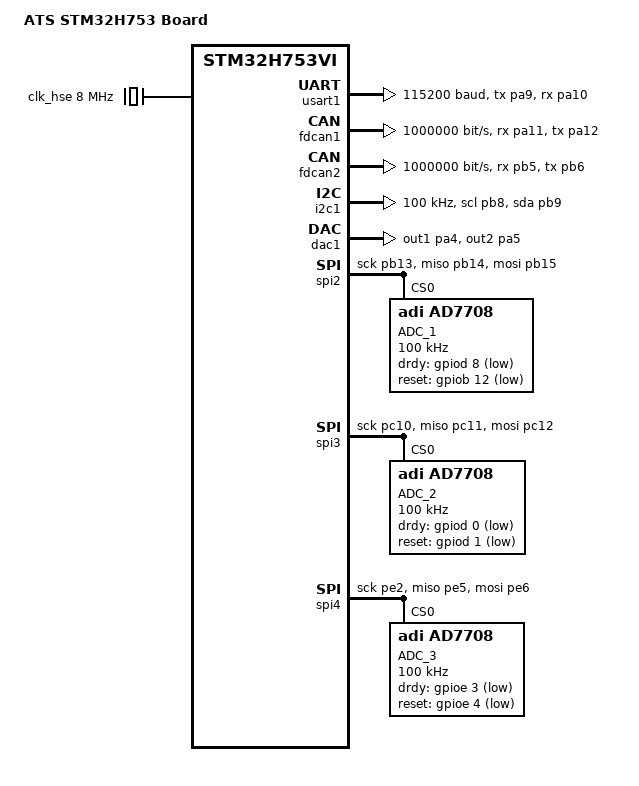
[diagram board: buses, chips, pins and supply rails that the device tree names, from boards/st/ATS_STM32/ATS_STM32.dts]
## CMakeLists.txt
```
# SPDX-License-Identifier: Apache-2.0
cmake_minimum_required(VERSION 3.20.0)

# Generates compile_commands.json for clangd LSP support.
set(CMAKE_EXPORT_COMPILE_COMMANDS ON)

find_package(Zephyr REQUIRED HINTS $ENV{ZEPHYR_BASE})
project(vcu)

# include/ is the single root for all headers.
# Use prefixed includes for subfolders: #include "threads/APPS.h", #include "can_decoders/dti_decoders.h"
target_include_directories(app PRIVATE
    ${CMAKE_CURRENT_SOURCE_DIR}/include
)

# Gather all C and C++ source files under src/ recursively (picks up subfolders automatically).
file(GLOB_RECURSE APP_SOURCES
    ${CMAKE_CURRENT_SOURCE_DIR}/src/*.c
    ${CMAKE_CURRENT_SOURCE_DIR}/src/*.cpp
)

target_sources(app PRIVATE ${APP_SOURCES})

target_compile_options(app PRIVATE
    -Wall
    -Wextra
    -Wno-unused-parameter
)
```

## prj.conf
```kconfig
CONFIG_CAN=y
CONFIG_GPIO=y
CONFIG_LOG=y
CONFIG_LOG_DEFAULT_LEVEL=3
CONFIG_LOG_BACKEND_FORMAT_TIMESTAMP=y
CONFIG_LOG_BACKEND_SHOW_COLOR=y

CONFIG_CPP=y
CONFIG_CPP_EXCEPTIONS=y
CONFIG_GLIBCXX_LIBCPP=y
CONFIG_CAN_STATS=y

# Keep your custom compiler flag:
CONFIG_COMPILER_OPT="-ftrack-macro-expansion=0"
CONFIG_THREAD_MONITOR=y
CONFIG_THREAD_STACK_INFO=y
CONFIG_HEAP_MEM_POOL_SIZE=16384
CONFIG_SYSTEM_WORKQUEUE_STACK_SIZE=2048
CONFIG_SYS_HEAP_RUNTIME_STATS=y
CONFIG_PRINTK=y  

CONFIG_THREAD_RUNTIME_STATS=y
CONFIG_SCHED_THREAD_USAGE=y
CONFIG_CPU_LOAD=y
```

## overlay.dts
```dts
/ {
    /* enable the second and third CAN controllers */
    &can2 { status = "okay"; };
    &can3 { status = "okay"; };
};
```

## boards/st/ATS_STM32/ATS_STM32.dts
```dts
/*
 * Created by Luke Tighe 4/9/26
 * SPDX-License-Identifier: Apache-2.0
 */

/dts-v1/;
/* Base STM32H753 SoC description. */
#include <st/h7/stm32h753Xi.dtsi>
/* STM32H753 pinmux labels used by pinctrl-0 entries below. */
#include <st/h7/stm32h753vitx-pinctrl.dtsi>
/* STM32 pinmux helper macros used for custom SPI4 pin definitions below. */
#include <zephyr/dt-bindings/pinctrl/stm32-pinctrl.h>

/ {
	/* Human-readable board identification shown in generated metadata. */
	model = "ATS STM32H753 Board";
	/* Board-specific compatible, followed by the STM32H753VI SoC family. */
	compatible = "vnd,ats-stm32", "st,stm32h753vi";

	/* Default system resources Zephyr should bind to at boot. */
	chosen {
		/* UART used for printk/logging output. */
		zephyr,console = &usart1;
		/* UART used by the Zephyr shell, if enabled. */
		zephyr,shell-uart = &usart1;
		/* Main SRAM region used for runtime allocations and data. */
		zephyr,sram = &sram0;
		/* On-chip flash used for the application image. */
		zephyr,flash = &flash0;
		/* Default CAN controller for application code and samples. */
		zephyr,canbus = &fdcan1;
	};

	/*
	 * Convenience aliases for the three external SPI ADCs and the hall-effect
	 * interrupt line.
	 * Assumption: no separate CS pin was provided, so each ADC is the only
	 * device on its SPI bus and chip select is handled externally in hardware.
	 */
	aliases {
		adc-spi1 = &ADC_1;
		adc-spi2 = &ADC_2;
		adc-spi3 = &ADC_3;
		adc1-disable = &adc1_disable;
		adc2-disable = &adc2_disable;
		adc3-disable = &adc3_disable;
		i2c-irq = &HallEffect_1;
	};

	/* Named board-level GPIO resources that application code can look up. */
	board_signals {
		/*
		 * ADC disable lines are active high.
		 * External pull-ups on the board keep the ADCs disabled until firmware
		 * actively drives these lines low.
		 */
		adc1_disable: adc1-disable {
			gpios = <&gpiod 2 GPIO_ACTIVE_HIGH>;
			label = "ADC1 Disable";
		};

		adc2_disable: adc2-disable {
			gpios = <&gpiod 4 GPIO_ACTIVE_HIGH>;
			label = "ADC2 Disable";
		};

		adc3_disable: adc3-disable {
			gpios = <&gpioc 13 GPIO_ACTIVE_HIGH>;
			label = "ADC3 Disable";
		};

		/* Hall-effect sensor interrupt line on PE1. */
		HallEffect_1: hall-effect-1 {
			gpios = <&gpioe 1 GPIO_ACTIVE_LOW>;
			label = "Hall Effect 1";
		};
	};
};

/* External high-speed clock source feeding the PLLs. */
&clk_hse {
	clock-frequency = <DT_FREQ_M(8)>;
	status = "okay";
};

/* Main PLL generates the 480 MHz system clock tree. */
&pll {
	div-m = <2>;
	mul-n = <240>;
	div-p = <2>;
	div-q = <2>;
	div-r = <2>;
	clocks = <&clk_hse>;
	status = "okay";
};

/* Secondary PLL is used here to generate the FDCAN kernel clock. */
&pll2 {
	div-m = <4>;
	mul-n = <120>;
	div-p = <2>;
	div-q = <3>;
	div-r = <2>;
	clocks = <&clk_hse>;
	status = "okay";
};

/* RCC selects the system clock source and bus prescalers. */
&rcc {
	clocks = <&pll>;
	clock-frequency = <DT_FREQ_M(480)>;
	d1cpre = <1>;
	hpre = <2>;
	d1ppre = <2>;
	d2ppre1 = <2>;
	d2ppre2 = <2>;
	d3ppre = <2>;
};

/* STM32H7 power configuration. "ldo" matches a typical direct LDO setup. */
&pwr {
	power-supply = "ldo";
};

/* Enable GPIO controller blocks so pins can be configured from application code. */
&gpioa { status = "okay"; };
&gpiob { status = "okay"; };
&gpioc { status = "okay"; };
&gpiod { status = "okay"; };
&gpioe { status = "okay"; };

/* Primary debug/logging UART routed to PA9/PA10. */
&usart1 {
	pinctrl-0 = <&usart1_tx_pa9 &usart1_rx_pa10>;
	pinctrl-names = "default";
	current-speed = <115200>;
	status = "okay";
};

/* CAN1 */
&fdcan1 {
	clocks = <&rcc STM32_CLOCK(APB1_2, 8)>,
		 <&rcc STM32_SRC_PLL2_Q FDCAN_SEL(2)>;
	pinctrl-0 = <&fdcan1_rx_pa11 &fdcan1_tx_pa12>;
	pinctrl-names = "default";
	/* 1 Mbit/s nominal bitrate with an 87.5% sample point. */
	bitrate = <1000000>;
	sample-point = <875>;
	status = "okay";
};

/* CAN2 */
&fdcan2 {
	clocks = <&rcc STM32_CLOCK(APB1_2, 9)>,
		 <&rcc STM32_SRC_PLL2_Q FDCAN_SEL(2)>;
	pinctrl-0 = <&fdcan2_rx_pb5 &fdcan2_tx_pb6>;
	pinctrl-names = "default";
	bitrate = <1000000>;
	sample-point = <875>;
	status = "okay";
};

/* I2C1 routed to PB8/PB9 for external peripherals. */
&i2c1 {
	pinctrl-0 = <&i2c1_scl_pb8 &i2c1_sda_pb9>;
	pinctrl-names = "default";
	status = "okay";
	clock-frequency = <I2C_BITRATE_STANDARD>;
};

/*
 * DAC1 exposes two analog outputs on PA4 and PA5.
 * Note: these pins are still referenced as ADC inputs in the current C++ code.
 */
&dac1 {
	pinctrl-0 = <&dac1_out1_pa4 &dac1_out2_pa5>;
	pinctrl-names = "default";
	status = "okay";
};

/* ADC1 SPI bus: PB15 MOSI, PB14 MISO, PB13 SCK. */
&spi2 {
	pinctrl-0 = <&spi2_sck_pb13 &spi2_miso_pb14 &spi2_mosi_pb15>;
	pinctrl-names = "default";
	status = "okay";

	/* AD7708 #1 control signals: PD8 DRDY, PB12 reset. */
	ADC_1: adc@0 {
		compatible = "adi,ad7708";
		reg = <0>;
		spi-max-frequency = <100000>;
		drdy-gpios = <&gpiod 8 GPIO_ACTIVE_LOW>;
		reset-gpios = <&gpiob 12 GPIO_ACTIVE_LOW>;
		status = "okay";
	};
};

/* ADC2 SPI bus: PC12 MOSI, PC11 MISO, PC10 SCK. */
&spi3 {
	pinctrl-0 = <&spi3_sck_pc10 &spi3_miso_pc11 &spi3_mosi_pc12>;
	pinctrl-names = "default";
	status = "okay";

	/* AD7708 #2 control signals: PD0 DRDY, PD1 reset. */
	ADC_2: adc@0 {
		compatible = "adi,ad7708";
		reg = <0>;
		spi-max-frequency = <100000>;
		drdy-gpios = <&gpiod 0 GPIO_ACTIVE_LOW>;
		reset-gpios = <&gpiod 1 GPIO_ACTIVE_LOW>;
		status = "okay";
	};
};

/* ADC3 SPI bus: PE6 MOSI, PE5 MISO, PE2 SCK. */
&spi4 {
	pinctrl-0 = <&spi4_sck_pe2 &spi4_miso_pe5 &spi4_mosi_pe6>;
	pinctrl-names = "default";
	status = "okay";

	/* AD7708 #3 control signals: PE3 DRDY, PE4 reset. */
	ADC_3: adc@0 {
		compatible = "adi,ad7708";
		reg = <0>;
		spi-max-frequency = <100000>;
		drdy-gpios = <&gpioe 3 GPIO_ACTIVE_LOW>;
		reset-gpios = <&gpioe 4 GPIO_ACTIVE_LOW>;
		status = "okay";
	};
};

/* Custom pinctrl entries for SPI4 on GPIOE, since these pins are board-specific. */
&pinctrl {
	spi4_sck_pe2: spi4_sck_pe2 {
		pinmux = <STM32_PINMUX('E', 2, AF5)>;
	};

	spi4_miso_pe5: spi4_miso_pe5 {
		pinmux = <STM32_PINMUX('E', 5, AF5)>;
	};

	spi4_mosi_pe6: spi4_mosi_pe6 {
		pinmux = <STM32_PINMUX('E', 6, AF5)>;
	};
};
```

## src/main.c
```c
/*
 * Copyright (c) 2016 Intel Corporation
 *
 * SPDX-License-Identifier: Apache-2.0
 */

#include "CanInitializer.h"
#include <stdio.h>
#include <sys/_intsup.h>
#include <zephyr/drivers/gpio.h>
#include <zephyr/kernel.h>

/* 1000 msec = 1 sec */
#define SLEEP_TIME_MS 1000

#define DEBUGGING 0

// Placeholder values while we do not have real numbers (most likely same as 24 car)
const int ocThreshold = 1; // Open Circuit threshold
const int scThreshold = 2;  // Short Circuit threshold

// Pin Configuration NOT REAL VALUES
const int brake_switch_pin = 14;
const int brake_out_pin = 2;
const int error_out_pin = 9;
const int rtds_horn_pin = 21;
const int custom_pedal_pin = A14;


// Class for the pedals contains how to read pedal positions and check Open Circuit and Short Circuit faults
struct pedalSensor {
    const int inputPin;
    const int zeroPos;
    const int fullPos;
    const int onLedPin;
    const int ocLedPin;
    const int scLedPin;

    public:
        float pedalPercentage() const {
            float percent = ((float) analogRead(inputPin) - zeroPos) / (fullPos - zeroPos);
            if (percent < 0.0f) {
                percent = 0.0f;
            } else if (percent > 1.0f) {
                percent = 1.0f;
            }
            return percent;
        }

        // Checks for a Short Circuit by reading the value of the sensor and comparing it to the threshold defined above
        bool checkOpenCircuit() const {
            bool isOpenCircuit = analogRead(inputPin) < ocThreshold;
            digitalWrite(ocLedPin, isOpenCircuit);
            #ifdef DEBUGGING
            printf("Pedal %d: Open Circuit %s\n", inputPin, isOpenCircuit ? "detected" : "not detected");
            #endif
            return isOpenCircuit;
        }

        // Checks for a Short Circuit by reading the value of the sensor and comparing it to the threshold defined above
        bool checkShortCircuit() const {
            bool isShortCircuit = analogRead(inputPin) > scThreshold;
            digitalWrite(scLedPin, isShortCircuit);
            #ifdef DEBUGGING
            printf("Pedal %d: Short Circuit %s\n", inputPin, isShortCircuit ? "detected" : "not detected");
            #endif
            return isShortCircuit;
        }
}

// Pedal sensor1 WRITE DOWN RIGHT OR LEFT WHEN WE FIGURE IT OUT also update values
const pedalSensor p1 = {
    0,
    0,
    0,
    0,
    0,
    0
};

// Pedal sensor2 WRITE DOWN RIGHT OR LEFT WHEN WE FIGURE IT OUT also update values
const pedalSensor p2 = {
    0,
    0,
    0,
    0,
    0,
    0
};

const pedals pedalSensor[] = [p1, p2];

/* The devicetree node identifier for the "led0" alias. */

/*
 * A build error on this line means your board is unsupported.
 * See the sample documentation for information on how to fix this.
 */

int main(void) {}
```

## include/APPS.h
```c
#pragma once

#include "hardware.h"
#include "periodic_task.h"
#include "vehicle_state.h"

class APPSTask : public PeriodicTask<APPSTask>
{
    friend class PeriodicTask<APPSTask>;

  public:
    void set_hardware(Hardware *hw)
    {
        hardware_ = hw;
    }

  private:
    Hardware *hardware_ = nullptr;
    int64_t agreement_fault_deadline_ = 0;
    bool brake_fault_latched_ = false;

    void on_init();
    void on_deadline_miss();
    void run();

    float readPedalPercent(uint16_t raw, uint16_t low, uint16_t range, PEDAL_SLOPE_DIRECTION slope);
    bool checkOpenCircuit(uint16_t raw, uint16_t low_threshold);
    bool checkShortCircuit(uint16_t raw, uint16_t high_threshold);
    bool checkPedalAgreement(float p1_pct, float p2_pct);
    bool checkBrakeOverlap(float avg_pct);
};

// Start the APPS task. Stack and task instance are owned inside APPS.cpp.
void start_apps_task(VehicleState *v, Hardware *hw, uint32_t period_ms = 100, int priority = 5);

APPSTask &get_apps_task();
```

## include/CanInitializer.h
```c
#include "ProjectIncludes.H"

#pragma once 
#ifdef __cplusplus 
extern "C" { 
#endif

/* can_init ENCAPSULATES ALL CAN INITIALIZATION AND STARTUP CONFIGURATION BEHAVIOR */
uint8_t can_init(); 

#ifdef __cplusplus
}
#endif
```

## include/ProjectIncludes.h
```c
#include <zephyr/types.h>
#include <zephyr/drivers/can.h>
#include <zephyr/kernel.h>
#include <zephyr/device.h>
#include <zephyr/devicetree.h>
#include <zephyr/logging\log.h>
```

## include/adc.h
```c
// zephyr_adc.h
#pragma once
#include <zephyr/drivers/spi.h>
#include <zephyr/drivers/gpio.h>
#include <zephyr/device.h>

struct AD7708Config {
    struct spi_dt_spec spi;
    struct gpio_dt_spec drdy;
    struct gpio_dt_spec reset;
};

class AD7708
{
  private:
    int reset();
    int write_reg(uint8_t reg, uint8_t value);
    int read_reg(uint8_t reg, uint8_t *value);
    int wait_data_ready();
    const AD7708Config *config_;

  public:
    explicit AD7708(const AD7708Config *config);
    int init();
    int read_raw(uint8_t channel, int32_t *sample);


};
```

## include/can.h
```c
#pragma once
#include "vehicle_state.h"
#include <zephyr/drivers/can.h>
#include <zephyr/kernel.h>

using frame_handler_t = void (*)(const struct can_frame *frame, volatile VehicleState *vehicle);

class CanBus
{
  private:
    const struct device *dev_;
    uint32_t bitrate_;
    uint32_t sample_point_;
    bool initialized_;
    bool started_;
    VehicleState *vehicle_;
    uint32_t frames_rec;
    uint32_t frames_sent;

    static void can1_rx_isr(const struct device *dev, struct can_frame *frame, void *self_ptr);
    static void can2_rx_isr(const struct device *dev, struct can_frame *frame, void *self_ptr);

    frame_handler_t bus_handlers[2048]{nullptr};

  public:
    CanBus(VehicleState *vehicle);

    int init(const struct device *dev, uint32_t bitrate = 1000000, uint32_t sample_point = 875);
    int start();
    int stop();

    int send(const struct can_frame *frame, k_timeout_t timeout, can_tx_callback_t callback = nullptr,
             void *user_data = nullptr);

    int add_rx_filter_msgq(struct k_msgq *msgq, const struct can_filter *filter);
    void remove_rx_filter(int filter_id);

    int get_state(enum can_state *state) const;
    int set_mode(can_mode_t mode);
    can_mode_t get_mode() const;

    bool is_initialized() const
    {
        return initialized_;
    }
    bool is_started() const
    {
        return started_;
    }

    const struct device *get_device() const
    {
        return dev_;
    }
};
```

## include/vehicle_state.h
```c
// vehicle_state.h
#pragma once
#include <zephyr/kernel.h>
#include <zephyr/drivers/can.h>

enum Corner : uint8_t
{
    FRONT_LEFT = 0,
    FRONT_RIGHT = 1,
    REAR_LEFT = 2,
    REAR_RIGHT = 3,
    NUM_CORNERS = 4
};

struct DTI_Inverter
{
    uint8_t node_id;

    // Packet 0x1F: General Data 6
    uint8_t control_mode;    // 1=Speed,2=Current,3=CurrBrake,4=Pos,7=None
    int16_t target_iq;       // [A_pk * 10]
    uint16_t motor_position; // [deg * 10]
    uint8_t is_motor_still;  // 1=still, 0=rotating

    // Packet 0x20: General Data 1
    int32_t erpm;          // [ERPM]
    int16_t duty_cycle;    // [% * 10]
    int16_t input_voltage; // [V]

    // Packet 0x21: General Data 2
    int16_t ac_current; // [A_pk * 10]
    int16_t dc_current; // [A_dc * 10]

    // Packet 0x22: General Data 3
    int16_t controller_temp; // [°C * 10]
    int16_t motor_temp;      // [°C * 10]
    uint8_t fault_code;      // 0x00=None ... 0x0A=AnalogErr

    // Packet 0x23: General Data 4
    int32_t id; // [A_pk * 100]
    int32_t iq; // [A_pk * 100]

    // Packet 0x24: General Data 5
    int8_t throttle_signal; // [%]
    int8_t brake_signal;    // [%]

    bool digital_in1;
    bool digital_in2;
    bool digital_in3;
    bool digital_in4;
    bool digital_out1;
    bool digital_out2;
    bool digital_out3;
    bool digital_out4;

    bool drive_enable;

    bool limit_cap_temp;
    bool limit_dc_current;
    bool limit_drive_enable;
    bool limit_igbt_accel_temp;
    bool limit_igbt_temp;
    bool limit_input_voltage;
    bool limit_motor_accel_temp;
    bool limit_motor_temp;
    bool limit_rpm_min;
    bool limit_rpm_max;
    bool limit_power;

    uint8_t can_map_version;

    // Packet 0x25: Configured and Available AC Currents
    int16_t max_ac_current;       // [A_pk * 10]
    int16_t avail_max_ac_current; // [A_pk * 10]
    int16_t min_ac_current;       // [A_pk * 10]
    int16_t avail_min_ac_current; // [A_pk * 10]

    // Packet 0x26: Configured and Available DC Currents
    int16_t max_dc_current;       // [A_dc * 10]
    int16_t avail_max_dc_current; // [A_dc * 10]
    int16_t min_dc_current;       // [A_dc * 10]
    int16_t avail_min_dc_current; // [A_dc * 10]

    uint64_t last_rx_time_ms;
};

struct Analog
{
    uint16_t channels[8];
};

enum APPS_ERRORS
{
    PEDAL_AGREEMENT = 0,
    SHORT_CIRCUIT_P1 = 1,
    SHORT_CIRCUIT_P2 = 2,
    OPEN_CIRCUIT_P1 = 3,
    OPEN_CIRCUIT_P2 = 4,
    BRAKE_OVERLAP = 5,
    NUM_ERRORS = 8,
};

enum PEDAL_SLOPE_DIRECTION
{
    POSITIVE,
    NEGATIVE
};

namespace APPS_CONSTEXPRS
{
static constexpr uint16_t calculateRange(uint16_t highThreshold, uint16_t lowThreshold)
{
    return (highThreshold > lowThreshold) ? (highThreshold - lowThreshold) : (lowThreshold - highThreshold);
}

static constexpr PEDAL_SLOPE_DIRECTION PEDAL_SLOPE_DIRECTION(uint16_t highThreshold, uint16_t lowThreshold)
{
    return (highThreshold > lowThreshold) ? POSITIVE : NEGATIVE;
}

} // namespace APPS_CONSTEXPRS

struct APPS_data
{
    bool errors[APPS_ERRORS::NUM_ERRORS];
    bool faulted;

    // calibration values, constexpr set at compile time
    static constexpr int pedal1_adc_channel_num = 0;
    static constexpr int pedal2_adc_channel_num = 1;
    static constexpr uint16_t pedal1_low_threshold = 10000;
    static constexpr uint16_t pedal2_low_threshold = 10000;
    static constexpr uint16_t pedal1_high_threshold = 20000;
    static constexpr uint16_t pedal2_high_threshold = 20000;

    static constexpr int brake_main_adc_channel_num = 0;

    // other calibration values
    static constexpr float agreement_threshold = 0.10f; // 10% disagreement
    static constexpr int agreement_timeout_ms = 100;
    static constexpr float brake_on_threshold = 0.25f;  // throttle % to latch brake fault
    static constexpr float brake_off_threshold = 0.05f; // throttle % to clear brake fault

    // constexpr values that are calculated at compiletime
    static constexpr uint16_t pedal1_range_width =
        APPS_CONSTEXPRS::calculateRange(pedal1_high_threshold, pedal1_low_threshold);
    static constexpr uint16_t pedal2_range_width =
        APPS_CONSTEXPRS::calculateRange(pedal2_high_threshold, pedal2_low_threshold);
    static constexpr PEDAL_SLOPE_DIRECTION pedal1_slope_direction =
        APPS_CONSTEXPRS::PEDAL_SLOPE_DIRECTION(pedal1_high_threshold, pedal1_low_threshold);
    static constexpr PEDAL_SLOPE_DIRECTION pedal2_slope_direction =
        APPS_CONSTEXPRS::PEDAL_SLOPE_DIRECTION(pedal2_high_threshold, pedal2_low_threshold);

    // IN PERCENTAGE, translation of input voltages to output command AFTER APPS processing
    float commandedTorquePercentage;
    float pedal1_percent;
    float pedal2_percent;
    static const bool torqueVectoringEnabled = false;
};

// struct that provides access to sub  Interface structs that house publicly accessible data to whole program.
// classes that interact with vehicle state should refer to this struct as source of truth
class VehicleState
{
  public:
    DTI_Inverter INVERTERS[Corner::NUM_CORNERS];
    Analog analogIf;
    APPS_data APPSIf;
};
```

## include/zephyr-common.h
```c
#pragma  once
#include <zephyr/device.h>
#include <zephyr/devicetree.h>
#include <zephyr/drivers/can.h>
#include <zephyr/kernel.h>
#include <zephyr/logging/log.h>
#include <zephyr/types.h>
#include <stdio.h>
#include <sys/_intsup.h>
#include <zephyr/drivers/gpio.h>
```

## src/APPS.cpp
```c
#include "APPS.h"
#include "dti_encoders.h"
#include "vehicle_state.h"
#include "zephyr/kernel.h"
#include <zephyr/logging/log.h>

LOG_MODULE_REGISTER(APPS, LOG_LEVEL_INF);

K_THREAD_STACK_DEFINE(apps_stack, 1024);

static APPSTask apps_task_instance;

APPSTask &get_apps_task()
{
    return apps_task_instance;
}

void start_apps_task(VehicleState *v, Hardware *hw, uint32_t period_ms, int priority)
{
    apps_task_instance.set_hardware(hw);
    apps_task_instance.start(apps_stack, K_THREAD_STACK_SIZEOF(apps_stack), period_ms, priority, v, K_FP_REGS);
    LOG_INF("APPS task started (%u ms period)", period_ms);
}

void APPSTask::on_init()
{
    LOG_INF("APPS task initialized");
}

void APPSTask::on_deadline_miss()
{
    LOG_ERR("Deadline Missed in  APPS Task");
}

void APPSTask::run()
{
    APPS_data &apps = vehicle()->APPSIf;
    uint16_t &pedal1raw = vehicle()->analogIf.channels[APPS_data::pedal1_adc_channel_num];
    uint16_t &pedal2raw = vehicle()->analogIf.channels[APPS_data::pedal2_adc_channel_num];

    pedal1raw = hardware_->getADCValue(APPS_data::pedal1_adc_channel_num);
    pedal2raw = hardware_->getADCValue(APPS_data::pedal2_adc_channel_num);

    apps.errors[OPEN_CIRCUIT_P1] = checkOpenCircuit(pedal1raw, APPS_data::pedal1_low_threshold);
    apps.errors[OPEN_CIRCUIT_P2] = checkOpenCircuit(pedal2raw, APPS_data::pedal2_low_threshold);
    apps.errors[SHORT_CIRCUIT_P1] = checkShortCircuit(pedal1raw, APPS_data::pedal1_high_threshold);
    apps.errors[SHORT_CIRCUIT_P2] = checkShortCircuit(pedal2raw, APPS_data::pedal2_high_threshold);

    bool range_fault = apps.errors[OPEN_CIRCUIT_P1] || apps.errors[OPEN_CIRCUIT_P2] || apps.errors[SHORT_CIRCUIT_P1] ||
                       apps.errors[SHORT_CIRCUIT_P2];

    apps.pedal1_percent = readPedalPercent(pedal1raw, APPS_data::pedal1_low_threshold, APPS_data::pedal1_range_width,
                                           APPS_data::pedal1_slope_direction);
    apps.pedal2_percent = readPedalPercent(pedal2raw, APPS_data::pedal2_low_threshold, APPS_data::pedal2_range_width,
                                           APPS_data::pedal2_slope_direction);

    apps.errors[PEDAL_AGREEMENT] = checkPedalAgreement(apps.pedal1_percent, apps.pedal2_percent);

    float avg_pct = (apps.pedal1_percent + apps.pedal2_percent) / 2.0f;
    apps.errors[BRAKE_OVERLAP] = checkBrakeOverlap(avg_pct);

    apps.faulted = range_fault || apps.errors[PEDAL_AGREEMENT] || apps.errors[BRAKE_OVERLAP];

    apps.commandedTorquePercentage = apps.faulted ? 0.0f : avg_pct;

    if (apps.faulted)
    {
        LOG_WRN("APPS fault active — torque command zeroed");
    }

    if (apps.torqueVectoringEnabled)
    {
        // to be implemented
        LOG_ERR("TV is not implemented");
        bool &tvEnabled = const_cast<bool &>(apps.torqueVectoringEnabled);
        tvEnabled = false;
    }
    else
    {
        int16_t cmd = static_cast<int16_t>(apps.commandedTorquePercentage * vehicle()->INVERTERS[0].max_ac_current_x10);

        for (Corner c = FRONT_LEFT; c < NUM_CORNERS; c = static_cast<Corner>(1 + static_cast<int>(c)))
        {
            vehicle()->INVERTERS[c].cmd_drive_enable = apps.faulted ? 0u : 1u;
            vehicle()->INVERTERS[c].cmd_ac_current = cmd;
        }

        struct can_frame tq_command_packed_0x01{};
        encode_dti_fl_set_ac_current(&tq_command_packed_0x01, vehicle());
        hardware_->can1.send(&tq_command_packed_0x01, K_MSEC(1));
        encode_dti_fr_set_ac_current(&tq_command_packed_0x01, vehicle());
        hardware_->can1.send(&tq_command_packed_0x01, K_MSEC(1));
        encode_dti_rl_set_ac_current(&tq_command_packed_0x01, vehicle());
        hardware_->can1.send(&tq_command_packed_0x01, K_MSEC(1));
        encode_dti_rr_set_ac_current(&tq_command_packed_0x01, vehicle());
        hardware_->can1.send(&tq_command_packed_0x01, K_MSEC(1));
    }
}

float APPSTask::readPedalPercent(uint16_t raw, uint16_t low, uint16_t range, PEDAL_SLOPE_DIRECTION slope)
{
    float pct = (slope == POSITIVE) ? static_cast<float>(raw - low) / static_cast<float>(range)
                                    : static_cast<float>(low - raw) / static_cast<float>(range);

    if (pct < 0.0f)
        pct = 0.0f;
    if (pct > 1.0f)
        pct = 1.0f;
    return pct;
}

bool APPSTask::checkOpenCircuit(uint16_t raw, uint16_t low_threshold)
{
    return raw < low_threshold;
}

bool APPSTask::checkShortCircuit(uint16_t raw, uint16_t high_threshold)
{
    return raw > high_threshold;
}

bool APPSTask::checkPedalAgreement(float p1_pct, float p2_pct)
{
    if (fabsf(p1_pct - p2_pct) > APPS_data::agreement_threshold)
    {
        if (agreement_fault_deadline_ == 0)
        {
            agreement_fault_deadline_ = k_uptime_get() + APPS_data::agreement_timeout_ms;
        }
        else if (k_uptime_get() >= agreement_fault_deadline_)
        {
            LOG_WRN("Pedal agreement fault: p1=%.2f p2=%.2f", static_cast<double>(p1_pct), static_cast<double>(p2_pct));
            return true;
        }
    }
    else
    {
        agreement_fault_deadline_ = 0;
    }
    return false;
}

bool APPSTask::checkBrakeOverlap(float avg_pct)
{
    // TODO: wire up brake switch GPIO from hardware_
    bool brake_pressed = false;

    if (avg_pct > APPS_data::brake_on_threshold && brake_pressed)
    {
        brake_fault_latched_ = true;
        LOG_WRN("Brake overlap fault latched");
    }
    if (brake_fault_latched_ && avg_pct < APPS_data::brake_off_threshold)
    {
        brake_fault_latched_ = false;
        LOG_INF("Brake overlap fault cleared");
    }
    return brake_fault_latched_;
}
```

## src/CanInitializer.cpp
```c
#include "zephyr-common.h"
#include "globals.h"
#include "zephyr/drivers/can.h"

LOG_MODULE_REGISTER(canInitializer, LOG_LEVEL_INF);


namespace {
    constexpr int CAN1_BAUD = 1000000;         
    constexpr int CAN1_SAMPLE_POINT = 875;       
    constexpr uint16_t CAN1_STATUS_MSG_ID = 0x090; 
}

const struct device *can1; 
CAN_MSGQ_DEFINE(can1_rx_test_msgq, 10);


static void can_status_callback(const struct device *dev, int error, void *user_data) {
    if (error) {
        LOG_ERR("CAN Status MSG Transmit failed: %d", error);
    } else {
        LOG_INF("CAN Status MSG Transmit succeeded");
    }
}
uint8_t can_init() {

    can1 = DEVICE_DT_GET(DT_NODELABEL(fdcan1));


    if (!device_is_ready(can1)) {
        LOG_ERR("CAN1 controller not ready");
        return static_cast<uint8_t>(-1);
    }

    LOG_INF("CAN1 device ready — calculating timing...");
    struct can_timing timing {};
    int ret = can_calc_timing(can1, &timing, CAN1_BAUD, CAN1_SAMPLE_POINT);
    if (ret != 0) {
        LOG_ERR("can_calc_timing() failed with code %d", ret);
        return static_cast<uint8_t>(ret);
    }

    struct can_bus_err_cnt can1err; 
    enum can_state state;
    can_get_state(can1, &state,&can1err);
    if (state != CAN_STATE_STOPPED) {
        LOG_INF("Stopping CAN1 to Configure Timing!");
        can_stop(can1);
        if (ret != 0) {
        LOG_ERR("can_stop() failed with code %d", ret);
        return static_cast<uint8_t>(ret);
    }
    }

    LOG_INF("Applying timing configuration...");
    ret = can_set_timing(can1, &timing);
    if (ret != 0) {
        LOG_ERR("can_set_timing() failed with code %d", ret);
        return static_cast<uint8_t>(ret);
    }

    LOG_INF("Setting LOOPBACK MODE"); 
    ret = can_set_mode(can1, CAN_MODE_LOOPBACK);
    if (ret) {
        LOG_ERR("Failed to set CAN loopback mode: %d", ret);
    }
    else{
        LOG_INF("Loopback Set"); 
    }

    LOG_INF("Starting CAN1...");
    ret = can_start(can1);
    if (ret != 0) {
        LOG_ERR("can_start() failed with code %d", ret);
        return static_cast<uint8_t>(ret);
    }

    struct can_frame msg_can1_status{
        .id = CAN1_STATUS_MSG_ID, 
        .dlc = can_bytes_to_dlc(8), 
        .flags = 0, 
        .data = {0,1,2,3,4,5,6,7}
    }; 

    ret = can_send(can1, &msg_can1_status, K_MSEC(10), can_status_callback, nullptr);
    if (ret < 0) {
        LOG_ERR("Failed to send CAN frame: %d", ret);
    }
    LOG_INF("CAN1 initialization complete.");

    const struct can_filter match_all_rx = {
        .id = 0x000,
        .mask = 0x000,
        .flags = 0
    };

    int test_msgq_id = can_add_rx_filter_msgq(can1, &can1_rx_test_msgq, &match_all_rx);
    
    if (test_msgq_id < 0) {
        LOG_ERR("Failed to add RX MSGQ: %d", test_msgq_id);
    } else {
        LOG_INF("RX MSGQ installed successfully (id=%d)", test_msgq_id);
        LOG_INF("Waiting to Recieve first Message"); 
    }

    struct can_frame rx_frame;
    ret = k_msgq_get(&can1_rx_test_msgq, &rx_frame, K_FOREVER);
    if (ret == 0) {
        LOG_INF("Received first CAN frame:");
        LOG_INF("  ID: 0x%x", rx_frame.id);
        LOG_INF("  DLC: %d", rx_frame.dlc);
        LOG_HEXDUMP_INF(rx_frame.data, can_dlc_to_bytes(rx_frame.dlc), "  Data:");
    } else {
        LOG_ERR("Failed to receive CAN frame (err=%d)", ret);
    }


    can_remove_rx_filter(can1,test_msgq_id); 
    k_msgq_purge(&can1_rx_test_msgq); 
    LOG_INF("Test MSGQ Destroyed, Filter Removed. CAN1 IS READY"); 

    return 0;
}
```

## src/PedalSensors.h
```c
// If PEDALSENSORS_H is not defined, define it (start of header guard)
#ifndef PEDALSENSORS_H     
// Define PEDALSENSORS_H to prevent multiple inclusions
#define PEDALSENSORS_H  

#include <stdio.h>

struct PedalSensor{
    const int inputPin;
    const int zeroPos;
    const int fullPos;
    const int onLedPin;
    const int ocLedPin;
    const int scLedPin;

    float pedalPercentage();
    bool checkOpenCircuit();
    bool checkShortCircuit();
    bool checkRangeFaults();
};

bool pedalAgreementFault(PedalSensor p1, PedalSensor p2);
bool brakeFault(PedalSensor p1, PedalSensor p2);
bool checkAllFaults(PedalSensor p1, PedalSensor p2)
```

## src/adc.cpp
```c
// zephyr_adc.cpp
#include "adc.h"
#include <zephyr/logging/log.h>

LOG_MODULE_REGISTER(zephyr_adc);



int AD7708::reset() {

}

int AD7708::write_reg(uint8_t reg, uint8_t value){

}

int AD7708::read_reg(uint8_t reg, uint8_t *value){

}

int AD7708::wait_data_ready(){

}

AD7708::AD7708(const AD7708Config *config) : config_(config){

}

int AD7708::init(){

}

int AD7708::read_raw(uint8_t channel, int32_t *sample){

}
```

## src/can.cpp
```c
#include "can.h"
#include "dti_decoders.h"

#include <zephyr/logging/log.h>

#include "dti_decoders.h"
#include "stm32h753xx.h"
#include "vehicle_state.h"
#include "zephyr/drivers/can.h"

LOG_MODULE_REGISTER(can);

// ============================================================================
// Helper macro for DTI standard CAN IDs: (packet_id << 5) | node_id
// ============================================================================
#define DTI_CAN_ID(pkt, node) (((pkt) << 5) | (node))

// DTI node IDs per corner
#define DTI_NODE_FL 22
#define DTI_NODE_FR 23
#define DTI_NODE_RL 24
#define DTI_NODE_RR 25

// ============================================================================
// Construction
// ============================================================================

CanBus::CanBus(VehicleState *vehicle)
    : dev_(nullptr), bitrate_(0), sample_point_(0), initialized_(false), started_(false), vehicle_(vehicle),
      frames_rec(0), frames_sent(0)
{
}

// ============================================================================
// ISR dispatch
// ============================================================================

void CanBus::dispatch(const struct can_frame *frame)
{
    uint16_t id = frame->id & CAN_STD_ID_MASK;

    if (id < 2048 && bus_handlers[id])
    {
        bus_handlers[id](frame, vehicle_);
    }

    frames_rec++;
}

void CanBus::can1_rx_isr(const struct device *dev, struct can_frame *frame, void *self_ptr)
{
    CanBus *bus = static_cast<CanBus *>(self_ptr);
    bus->dispatch(frame);
}

void CanBus::can2_rx_isr(const struct device *dev, struct can_frame *frame, void *self_ptr)
{
    CanBus *bus = static_cast<CanBus *>(self_ptr);
    bus->dispatch(frame);
}

// ============================================================================
// Handler registration — called internally at end of init()
// ============================================================================

int CanBus::register_handlers()
{
    if (dev_ == DEVICE_DT_GET(DT_NODELABEL(fdcan1)))
    {
        // ---- DTI Inverters on CAN1 ----

        // FL (node 22) — packets 0x1F-0x26
        bus_handlers[DTI_CAN_ID(0x1F, DTI_NODE_FL)] = decode_dti_fl_0x1F;
        bus_handlers[DTI_CAN_ID(0x20, DTI_NODE_FL)] = decode_dti_fl_0x20;
        bus_handlers[DTI_CAN_ID(0x21, DTI_NODE_FL)] = decode_dti_fl_0x21;
        bus_handlers[DTI_CAN_ID(0x22, DTI_NODE_FL)] = decode_dti_fl_0x22;
        bus_handlers[DTI_CAN_ID(0x23, DTI_NODE_FL)] = decode_dti_fl_0x23;
        bus_handlers[DTI_CAN_ID(0x24, DTI_NODE_FL)] = decode_dti_fl_0x24;
        bus_handlers[DTI_CAN_ID(0x25, DTI_NODE_FL)] = decode_dti_fl_0x25;
        bus_handlers[DTI_CAN_ID(0x26, DTI_NODE_FL)] = decode_dti_fl_0x26;

        // FR (node 23)
        bus_handlers[DTI_CAN_ID(0x1F, DTI_NODE_FR)] = decode_dti_fr_0x1F;
        bus_handlers[DTI_CAN_ID(0x20, DTI_NODE_FR)] = decode_dti_fr_0x20;
        bus_handlers[DTI_CAN_ID(0x21, DTI_NODE_FR)] = decode_dti_fr_0x21;
        bus_handlers[DTI_CAN_ID(0x22, DTI_NODE_FR)] = decode_dti_fr_0x22;
        bus_handlers[DTI_CAN_ID(0x23, DTI_NODE_FR)] = decode_dti_fr_0x23;
        bus_handlers[DTI_CAN_ID(0x24, DTI_NODE_FR)] = decode_dti_fr_0x24;
        bus_handlers[DTI_CAN_ID(0x25, DTI_NODE_FR)] = decode_dti_fr_0x25;
        bus_handlers[DTI_CAN_ID(0x26, DTI_NODE_FR)] = decode_dti_fr_0x26;

        // RL (node 24)
        bus_handlers[DTI_CAN_ID(0x1F, DTI_NODE_RL)] = decode_dti_rl_0x1F;
        bus_handlers[DTI_CAN_ID(0x20, DTI_NODE_RL)] = decode_dti_rl_0x20;
        bus_handlers[DTI_CAN_ID(0x21, DTI_NODE_RL)] = decode_dti_rl_0x21;
        bus_handlers[DTI_CAN_ID(0x22, DTI_NODE_RL)] = decode_dti_rl_0x22;
        bus_handlers[DTI_CAN_ID(0x23, DTI_NODE_RL)] = decode_dti_rl_0x23;
        bus_handlers[DTI_CAN_ID(0x24, DTI_NODE_RL)] = decode_dti_rl_0x24;
        bus_handlers[DTI_CAN_ID(0x25, DTI_NODE_RL)] = decode_dti_rl_0x25;
        bus_handlers[DTI_CAN_ID(0x26, DTI_NODE_RL)] = decode_dti_rl_0x26;

        // RR (node 25)
        bus_handlers[DTI_CAN_ID(0x1F, DTI_NODE_RR)] = decode_dti_rr_0x1F;
        bus_handlers[DTI_CAN_ID(0x20, DTI_NODE_RR)] = decode_dti_rr_0x20;
        bus_handlers[DTI_CAN_ID(0x21, DTI_NODE_RR)] = decode_dti_rr_0x21;
        bus_handlers[DTI_CAN_ID(0x22, DTI_NODE_RR)] = decode_dti_rr_0x22;
        bus_handlers[DTI_CAN_ID(0x23, DTI_NODE_RR)] = decode_dti_rr_0x23;
        bus_handlers[DTI_CAN_ID(0x24, DTI_NODE_RR)] = decode_dti_rr_0x24;
        bus_handlers[DTI_CAN_ID(0x25, DTI_NODE_RR)] = decode_dti_rr_0x25;
        bus_handlers[DTI_CAN_ID(0x26, DTI_NODE_RR)] = decode_dti_rr_0x26;

        LOG_INF("Registered 32 DTI decoder handlers on CAN1");
    }
    else if (dev_ == DEVICE_DT_GET(DT_NODELABEL(fdcan2)))
    {
        // CAN2 handlers go here (BMS, dashboard, etc.)
        LOG_INF("CAN2 handler registration — no handlers yet");
    }
    else
    {
        LOG_ERR("Unknown CAN device during handler registration");
        return -1;
    }

    return 0;
}

// ============================================================================
// Init
// ============================================================================

int CanBus::init(const struct device *dev, uint32_t bitrate, uint32_t sample_point)
{
    if (!dev)
    {
        LOG_ERR("CAN device is NULL");
        return -1;
    }

    if (!device_is_ready(dev))
    {
        LOG_ERR("CAN device not ready");
        return -2;
    }

    dev_ = dev;
    bitrate_ = bitrate;
    sample_point_ = sample_point;

    LOG_INF("CAN device ready - calculating timing...");

    // Calculate timing parameters
    struct can_timing timing;
    int ret = can_calc_timing(dev_, &timing, bitrate_, sample_point_);
    if (ret != 0)
    {
        LOG_ERR("can_calc_timing() failed: %d", ret);
        return ret;
    }

    // Stop CAN if already running
    enum can_state state;
    can_get_state(dev_, &state, nullptr);
    if (state != CAN_STATE_STOPPED)
    {
        LOG_INF("Stopping CAN to configure timing");
        ret = can_stop(dev_);
        if (ret != 0)
        {
            LOG_ERR("can_stop() failed: %d", ret);
            return ret;
        }
        started_ = false;
    }

    // Apply timing configuration
    LOG_INF("Applying timing configuration...");
    ret = can_set_timing(dev_, &timing);
    if (ret != 0)
    {
        LOG_ERR("can_set_timing() failed: %d", ret);
        return ret;
    }

    // Select ISR callback based on which CAN peripheral this is
    can_rx_callback_t callback;

    if (dev_ == DEVICE_DT_GET(DT_NODELABEL(fdcan1)))
    {
        callback = can1_rx_isr;
    }
    else if (dev_ == DEVICE_DT_GET(DT_NODELABEL(fdcan2)))
    {
        callback = can2_rx_isr;
    }
    else
    {
        LOG_ERR("Unknown CAN device during callback assignment");
        return -3;
    }

    constexpr struct can_filter accept_all_filter = {
        .id = 0x000,
        .mask = ~CAN_STD_ID_MASK,
        .flags = 0U,
    };

    int filter_id = can_add_rx_filter(dev_, callback, this, &accept_all_filter);
    LOG_INF("Callback attached with code %d", filter_id);

    // Register decode handlers based on which bus this is
    ret = register_handlers();
    if (ret != 0)
    {
        LOG_ERR("register_handlers() failed: %d", ret);
        return ret;
    }

    initialized_ = true;
    LOG_INF("CAN initialized (%d bps, sample point %d)", bitrate_, sample_point_);
    return 0;
}

// ============================================================================
// Start / Stop / Send
// ============================================================================

int CanBus::start()
{
    if (!initialized_)
    {
        LOG_ERR("CAN not initialized");
        return -1;
    }

    if (started_)
    {
        LOG_WRN("CAN already started");
        return 0;
    }

    LOG_INF("Starting CAN...");
    int ret = can_start(dev_);
    if (ret != 0)
    {
        LOG_ERR("can_start() failed: %d", ret);
        return ret;
    }

    started_ = true;
    LOG_INF("CAN started successfully");
    return 0;
}

int CanBus::stop()
{
    if (!initialized_)
    {
        return -1;
    }

    if (!started_)
    {
        return 0;
    }

    int ret = can_stop(dev_);
    if (ret == 0)
    {
        started_ = false;
        LOG_INF("CAN stopped");
    }
    return ret;
}

int CanBus::send(const struct can_frame *frame, k_timeout_t timeout, can_tx_callback_t callback, void *user_data)
{
    if (!initialized_ || !started_)
    {
        return -1;
    }

    return can_send(dev_, frame, timeout, callback, user_data);
}

// ============================================================================
// Filter / State / Mode
// ============================================================================

int CanBus::add_rx_filter_msgq(struct k_msgq *msgq, const struct can_filter *filter)
{
    if (!initialized_)
    {
        return -1;
    }

    return can_add_rx_filter_msgq(dev_, msgq, filter);
}

void CanBus::remove_rx_filter(int filter_id)
{
    if (!initialized_)
    {
        return;
    }

    can_remove_rx_filter(dev_, filter_id);
}

int CanBus::get_state(enum can_state *state) const
{
    if (!initialized_ || !state)
    {
        return -1;
    }

    return can_get_state(dev_, state, nullptr);
}

int CanBus::set_mode(can_mode_t mode)
{
    if (!initialized_)
    {
        return -1;
    }

    bool was_started = started_;
    if (started_)
    {
        int ret = stop();
        if (ret != 0)
        {
            LOG_ERR("Failed to stop CAN before mode change");
            return ret;
        }
    }

    int ret = can_set_mode(dev_, mode);
    if (ret != 0)
    {
        LOG_ERR("can_set_mode failed: %d", ret);
        return ret;
    }

    if (was_started)
    {
        ret = start();
        if (ret != 0)
        {
            LOG_ERR("Failed to restart CAN after mode change");
            return ret;
        }
    }

    LOG_INF("CAN mode set to 0x%x", mode);
    return 0;
}

can_mode_t CanBus::get_mode() const
{
    if (!initialized_)
    {
        return (can_mode_t)0;
    }

    return can_get_mode(dev_);
}
```
